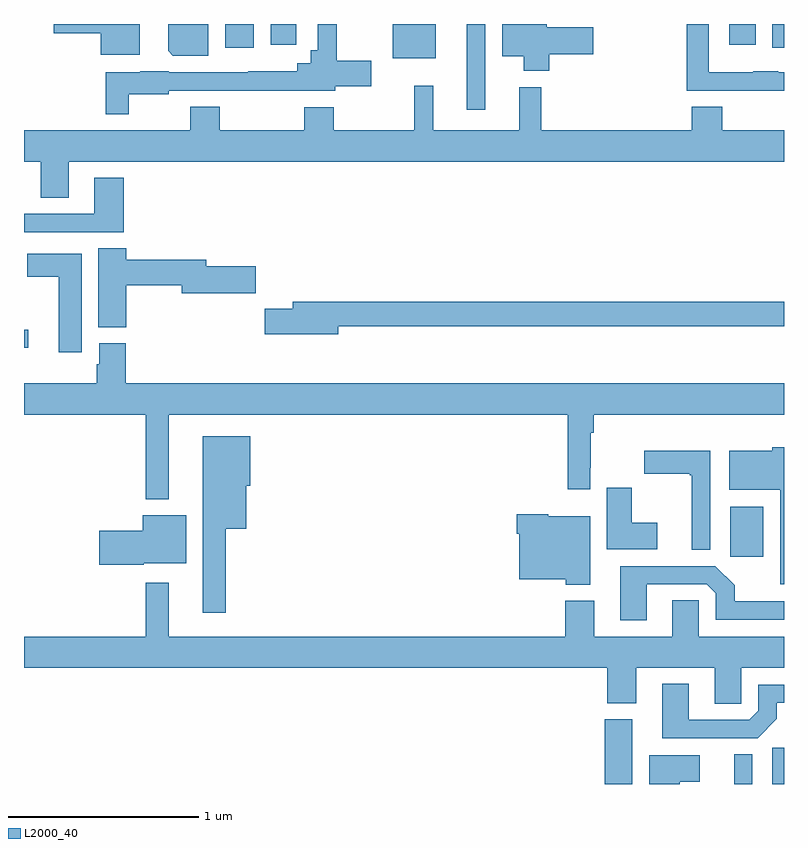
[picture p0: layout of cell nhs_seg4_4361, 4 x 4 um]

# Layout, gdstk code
import gdstk
lib = gdstk.Library(unit=1e-6, precision=1e-09)
def R(c, l, rs):  # rectangles x0, y0, x1, y1
    for r in rs: c.add(gdstk.rectangle(r[:2], r[2:], *l))
def P(c, l, *ps):  # polygons
    for p in ps: c.add(gdstk.Polygon(p, *l))
L2000_40 = (2000, 40)

nhs_seg4_4361 = lib.new_cell('nhs_seg4_4361')
R(nhs_seg4_4361, L2000_40, [(348.056,770.9,348.202,771.24), (348.737,770.9,348.834,771.056), (348.938,770.9,349,771.092), (348.716,772.097,348.892,772.36), (345,773.195,345.022,773.292), (347.33,774.45,347.427,774.9), (346.94,774.719,347.167,774.9), (346.058,774.774,346.21,774.9), (348.938,774.774,349,774.9), (346.298,774.792,346.433,774.9), (348.713,774.792,348.85,774.9)])
P(nhs_seg4_4361, L2000_40, [(347.765,774.742),(347.995,774.742),(347.995,774.884),(347.752,774.884),(347.752,774.9),(347.516,774.9),(347.516,774.731),(347.63,774.731),(347.63,774.653),(347.765,774.653)],
  [(345.97,774.9),(345.758,774.9),(345.758,774.76),(345.784,774.734),(345.97,774.734)],
  [(345.61,774.9),(345.156,774.9),(345.156,774.851),(345.404,774.851),(345.404,774.737),(345.61,774.737)],
  [(345.55,774.53),(345.762,774.53),(345.762,774.549),(346.179,774.549),(346.179,774.548),(346.411,774.548),(346.411,774.549),(346.638,774.549),(346.638,774.572),(346.828,774.572),(346.828,774.707),(346.646,774.707),(346.646,774.9),(346.545,774.9),(346.545,774.762),(346.509,774.762),(346.509,774.694),(346.439,774.694),(346.439,774.652),(346.179,774.652),(346.179,774.645),(345.762,774.645),(345.762,774.652),(345.612,774.652),(345.612,774.646),(345.429,774.646),(345.429,774.425),(345.55,774.425)],
  [(348.969,774.549),(349,774.549),(349,774.645),(348.969,774.645),(348.969,774.652),(348.837,774.652),(348.837,774.646),(348.603,774.646),(348.603,774.9),(348.487,774.9),(348.487,774.549),(348.737,774.549),(348.737,774.548),(348.969,774.548)],
  [(345.235,774.176),(349,774.176),(349,774.34),(348.675,774.34),(348.675,774.464),(348.515,774.464),(348.515,774.34),(347.723,774.34),(347.723,774.568),(347.606,774.568),(347.606,774.34),(347.153,774.34),(347.153,774.574),(347.053,774.574),(347.053,774.34),(346.629,774.34),(346.629,774.463),(346.474,774.463),(346.474,774.34),(346.029,774.34),(346.029,774.464),(345.874,774.464),(345.874,774.34),(345,774.34),(345,774.176),(345.088,774.176),(345.088,773.986),(345.235,773.986)],
  [(345.524,774.091),(345.371,774.091),(345.371,773.901),(345,773.901),(345,773.805),(345.524,773.805)],
  [(345.539,773.524),(345.83,773.524),(345.83,773.482),(346.219,773.482),(346.219,773.624),(345.958,773.624),(345.958,773.66),(345.539,773.66),(345.539,773.72),(345.392,773.72),(345.392,773.305),(345.539,773.305)],
  [(345.304,773.692),(345.017,773.692),(345.017,773.57),(345.182,773.57),(345.182,773.172),(345.304,773.172)],
  [(346.654,773.31),(349,773.31),(349,773.438),(346.415,773.438),(346.415,773.402),(346.266,773.402),(346.266,773.267),(346.654,773.267)],
  [(345.763,772.844),(347.863,772.844),(347.863,772.452),(347.979,772.452),(347.979,772.564),(347.984,772.564),(347.984,772.748),(347.999,772.748),(347.999,772.844),(349,772.844),(349,773.008),(345.536,773.008),(345.536,773.22),(345.395,773.22),(345.395,773.109),(345.383,773.109),(345.383,773.008),(345,773.008),(345,772.844),(345.642,772.844),(345.642,772.4),(345.763,772.4)],
  [(346.063,772.244),(346.171,772.244),(346.171,772.47),(346.192,772.47),(346.192,772.729),(345.941,772.729),(345.941,771.801),(346.063,771.801)],
  [(349,772.672),(348.939,772.672),(348.939,772.654),(348.713,772.654),(348.713,772.448),(348.981,772.448),(348.981,771.951),(349,771.951)],
  [(348.612,772.654),(348.264,772.654),(348.264,772.532),(348.504,772.532),(348.504,772.525),(348.515,772.525),(348.515,772.132),(348.612,772.132)],
  [(348.334,772.276),(348.198,772.276),(348.198,772.459),(348.068,772.459),(348.068,772.136),(348.334,772.136)],
  [(347.98,772.309),(347.76,772.309),(347.76,772.321),(347.594,772.321),(347.594,772.217),(347.606,772.217),(347.606,771.977),(347.85,771.977),(347.85,771.95),(347.98,771.95)],
  [(345.63,772.061),(345.853,772.061),(345.853,772.315),(345.626,772.315),(345.626,772.232),(345.396,772.232),(345.396,772.054),(345.63,772.054)],
  [(348.277,771.951),(348.594,771.951),(348.642,771.903),(348.642,771.765),(349,771.765),(349,771.861),(348.741,771.861),(348.741,771.945),(348.639,772.047),(348.137,772.047),(348.137,771.762),(348.277,771.762)],
  [(348.774,771.512),(349,771.512),(349,771.676),(348.552,771.676),(348.552,771.866),(348.413,771.866),(348.413,771.676),(348.001,771.676),(348.001,771.865),(347.849,771.865),(347.849,771.676),(345.763,771.676),(345.763,771.958),(345.642,771.958),(345.642,771.676),(345,771.676),(345,771.512),(348.071,771.512),(348.071,771.325),(348.223,771.325),(348.223,771.512),(348.635,771.512),(348.635,771.322),(348.774,771.322)],
  [(348.963,771.243),(348.963,771.327),(349,771.327),(349,771.423),(348.864,771.423),(348.864,771.285),(348.816,771.237),(348.499,771.237),(348.499,771.427),(348.359,771.427),(348.359,771.141),(348.861,771.141)],
  [(348.451,770.912),(348.556,770.912),(348.556,771.052),(348.29,771.052),(348.29,770.9),(348.451,770.9)])

lib.write_gds('nhs_seg4_4361.gds')
